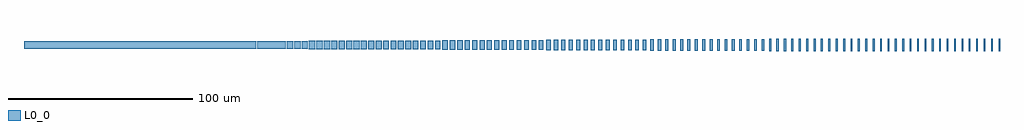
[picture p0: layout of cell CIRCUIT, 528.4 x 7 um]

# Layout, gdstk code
import gdstk
lib = gdstk.Library(unit=1e-6, precision=1e-09)
def R(c, l, rs):  # rectangles x0, y0, x1, y1
    for r in rs: c.add(gdstk.rectangle(r[:2], r[2:], *l))
L0_0 = (0, 0)

circuit = lib.new_cell('CIRCUIT')
R(circuit, L0_0, [(523.6,196.5,524.4,203.5), (527.6,196.5,528.4,203.5), (519.599,196.501,520.401,203.499), (515.598,196.502,516.402,203.498), (511.596,196.504,512.404,203.496), (507.593,196.507,508.407,203.493), (503.591,196.509,504.409,203.491), (499.587,196.513,500.413,203.487), (495.583,196.517,496.417,203.483), (491.579,196.521,492.421,203.479), (487.574,196.526,488.426,203.474), (483.569,196.531,484.431,203.469), (479.563,196.537,480.437,203.463), (475.556,196.544,476.444,203.456), (471.549,196.551,472.451,203.449), (467.542,196.558,468.458,203.442), (463.534,196.566,464.466,203.434), (459.526,196.574,460.474,203.426), (455.517,196.583,456.483,203.417), (451.508,196.592,452.492,203.408), (447.498,196.602,448.502,203.398), (443.488,196.612,444.512,203.388), (439.477,196.623,440.523,203.377), (435.466,196.634,436.534,203.366), (431.454,196.646,432.546,203.354), (427.442,196.658,428.558,203.342), (423.43,196.67,424.57,203.33), (419.417,196.683,420.583,203.317), (415.404,196.696,416.596,203.304), (411.391,196.709,412.609,203.291), (407.377,196.723,408.623,203.277), (403.363,196.737,404.637,203.263), (399.348,196.752,400.652,203.248), (395.333,196.767,396.667,203.233), (391.318,196.782,392.682,203.218), (387.302,196.798,388.698,203.202), (383.286,196.814,384.714,203.186), (379.27,196.83,380.73,203.17), (375.253,196.847,376.747,203.153), (371.236,196.864,372.764,203.136), (367.219,196.881,368.781,203.119), (363.202,196.898,364.798,203.102), (359.184,196.916,360.816,203.084), (355.166,196.934,356.834,203.066), (351.148,196.952,352.852,203.048), (347.13,196.97,348.87,203.03), (343.112,196.988,344.888,203.012), (339.093,197.007,340.907,202.993), (335.074,197.026,336.926,202.974), (331.055,197.045,332.945,202.955), (327.036,197.064,328.964,202.936), (323.017,197.083,324.983,202.917), (318.998,197.102,321.002,202.898), (314.978,197.122,317.022,202.878), (310.959,197.141,313.041,202.859), (306.939,197.161,309.061,202.839), (302.919,197.181,305.081,202.819), (298.899,197.201,301.101,202.799), (294.88,197.22,297.12,202.78), (290.86,197.24,293.14,202.76), (286.84,197.26,289.16,202.74), (282.82,197.28,285.18,202.72), (278.801,197.299,281.199,202.701), (274.781,197.319,277.219,202.681), (270.761,197.339,273.239,202.661), (266.741,197.359,269.259,202.641), (262.722,197.378,265.278,202.622), (258.702,197.398,261.298,202.602), (254.683,197.417,257.317,202.583), (250.664,197.436,253.336,202.564), (246.645,197.455,249.355,202.545), (242.626,197.474,245.374,202.526), (238.607,197.493,241.393,202.507), (234.588,197.512,237.412,202.488), (230.57,197.53,233.43,202.47), (226.552,197.548,229.448,202.452), (222.534,197.566,225.466,202.434), (218.516,197.584,221.484,202.416), (214.498,197.602,217.502,202.398), (210.481,197.619,213.519,202.381), (206.464,197.636,209.536,202.364), (202.447,197.653,205.553,202.347), (198.43,197.67,201.57,202.33), (194.414,197.686,197.586,202.314), (190.398,197.702,193.602,202.298), (186.382,197.718,189.618,202.282), (182.367,197.733,185.633,202.267), (178.352,197.748,181.648,202.252), (174.337,197.763,177.663,202.237), (170.323,197.777,173.677,202.223), (166.309,197.791,169.691,202.209), (162.296,197.804,165.704,202.196), (158.283,197.817,161.717,202.183), (154.27,197.83,157.73,202.17), (150.258,197.842,153.742,202.158), (146.246,197.854,149.754,202.146), (142.234,197.866,145.766,202.134), (138.223,197.877,141.777,202.123), (134.212,197.888,137.788,202.112), (130.202,197.898,133.798,202.102), (126.192,197.908,129.808,202.092), (122.183,197.917,125.817,202.083), (118.174,197.926,121.826,202.074), (114.166,197.934,117.834,202.066), (110.158,197.942,113.842,202.058), (106.151,197.949,109.849,202.051), (102.144,197.956,105.856,202.044), (98.137,197.963,101.863,202.037), (94.131,197.969,97.869,202.031), (90.126,197.974,93.874,202.026), (86.121,197.979,89.879,202.021), (82.117,197.983,85.883,202.017), (78.113,197.987,81.887,202.013), (74.109,197.991,77.891,202.009), (70.107,197.993,73.893,202.007), (66.104,197.996,69.896,202.004), (62.102,197.998,65.898,202.002), (58.101,197.999,61.899,202.001), (0,198,50,202), (50.1,198,53.9,202), (54.1,198,57.9,202)])

lib.write_gds('CIRCUIT.gds')
